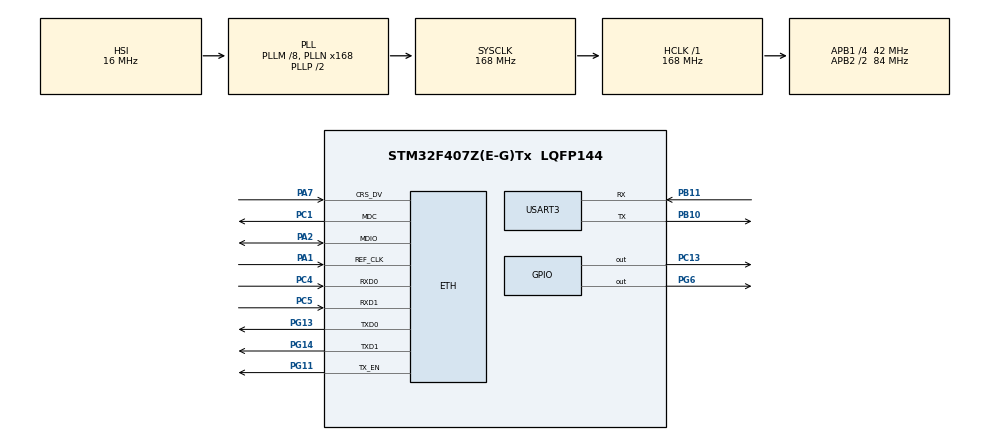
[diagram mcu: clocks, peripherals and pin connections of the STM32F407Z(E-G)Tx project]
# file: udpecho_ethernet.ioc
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ETH.MACAddr=44\:84\:23\:84\:44\:77
ETH.MediaInterface=ETH_MEDIA_INTERFACE_RMII
ETH.PhyAddress=0
FREERTOS.Tasks01=defaultTask,0,128,StartDefaultTask,Default,NULL,Dynamic,NULL,NULL;netTask,-3,128,StartnetTask,Default,NULL,Dynamic,NULL,NULL
FREERTOS.configTOTAL_HEAP_SIZE=15360
LWIP.LWIP_DNS=1
LWIP.Version=v2.0.3_Cube
Mcu.Family=STM32F4
Mcu.Name=STM32F407Z(E-G)Tx
Mcu.Package=LQFP144
NVIC.ETH_IRQn=true\:5\:0\:false\:false\:true\:true\:false
NVIC.PriorityGroup=NVIC_PRIORITYGROUP_4
PA1.GPIO_PuPd=GPIO_PULLUP
PA1.Mode=RMII
PA1.Signal=ETH_REF_CLK
PA13.Mode=Trace_Asynchronous_SW
PA13.Signal=SYS_JTMS-SWDIO
PA14.Mode=Trace_Asynchronous_SW
PA14.Signal=SYS_JTCK-SWCLK
PA2.GPIO_PuPd=GPIO_PULLUP
PA2.Mode=RMII
PA2.Signal=ETH_MDIO
PA7.GPIO_PuPd=GPIO_PULLUP
PA7.Mode=RMII
PA7.Signal=ETH_CRS_DV
PB10.Mode=Asynchronous
PB10.Signal=USART3_TX
PB11.Mode=Asynchronous
PB11.Signal=USART3_RX
PB3.Mode=Trace_Asynchronous_SW
PB3.Signal=SYS_JTDO-SWO
PC1.GPIO_PuPd=GPIO_PULLUP
PC1.Mode=RMII
PC1.Signal=ETH_MDC
PC13-ANTI_TAMP.Signal=GPIO_Output
PC4.GPIO_PuPd=GPIO_PULLUP
PC4.Mode=RMII
PC4.Signal=ETH_RXD0
PC5.GPIO_PuPd=GPIO_PULLUP
PC5.Mode=RMII
PC5.Signal=ETH_RXD1
PG11.GPIO_PuPd=GPIO_PULLUP
PG11.Mode=RMII
PG11.Signal=ETH_TX_EN
PG13.GPIO_PuPd=GPIO_PULLUP
PG13.Mode=RMII
PG13.Signal=ETH_TXD0
PG14.GPIO_PuPd=GPIO_PULLUP
PG14.Mode=RMII
PG14.Signal=ETH_TXD1
PG6.Signal=GPIO_Output
PH0-OSC_IN.Mode=HSE-External-Oscillator
PH0-OSC_IN.Signal=RCC_OSC_IN
PH1-OSC_OUT.Mode=HSE-External-Oscillator
PH1-OSC_OUT.Signal=RCC_OSC_OUT
ProjectManager.HeapSize=0x200
ProjectManager.StackSize=0x400
ProjectManager.TargetToolchain=TrueSTUDIO
RCC.48MHZClocksFreq_Value=84000000
RCC.AHBFreq_Value=168000000
RCC.APB1CLKDivider=RCC_HCLK_DIV4
RCC.APB1Freq_Value=42000000
RCC.APB1TimFreq_Value=84000000
RCC.APB2CLKDivider=RCC_HCLK_DIV2
RCC.APB2Freq_Value=84000000
RCC.APB2TimFreq_Value=168000000
RCC.CortexFreq_Value=168000000
RCC.HCLKFreq_Value=168000000
RCC.HSE_VALUE=25000000
RCC.HSI_VALUE=16000000
RCC.LSE_VALUE=32768
RCC.PLLM=8
RCC.PLLN=168
RCC.SYSCLKFreq_VALUE=168000000
RCC.SYSCLKSource=RCC_SYSCLKSOURCE_PLLCLK
RCC.VCOOutputFreq_Value=336000000
USART3.VirtualMode=VM_ASYNC
VP_FREERTOS_VS_ENABLE.Mode=Enabled
VP_LWIP_VS_Enabled.Mode=Enabled
board=custom

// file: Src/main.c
/******************************************************************************/
// FreeRTOS example developed by Erle Robotics(2018).
// This example use the cubeMX HAL and the LWIP library.
// This is an example of implementation of a TCP/IP echo server
//
/*****************************************************************************/

#include "main.h"
#include "stm32f4xx_hal.h"
#include "cmsis_os.h"
#include "lwip.h"
#include "api.h"

/* USER CODE BEGIN Includes */
char buffer[4096];//Buffer to return the data
/* USER CODE END Includes */

UART_HandleTypeDef huart3;

osThreadId defaultTaskHandle;
osThreadId netTaskHandle;

/* USER CODE BEGIN PV */
/* Private variables ---------------------------------------------------------*/

/* USER CODE END PV */

void SystemClock_Config(void);
static void MX_GPIO_Init(void);
static void MX_USART3_UART_Init(void);
void StartDefaultTask(void const * argument);
void StartnetTask(void const * argument);

/* USER CODE BEGIN PFP */
/* Private function prototypes -----------------------------------------------*/

/* USER CODE END PFP */

int main(void)
{

  /* MCU Configuration----------------------------------------------------------*/

  /* Reset of all peripherals, Initializes the Flash interface and the Systick. */
  HAL_Init();

  /* Configure the system clock */
  SystemClock_Config();

  /* Initialize all configured peripherals */
  MX_GPIO_Init();
  MX_USART3_UART_Init();

  /* Create the thread(s) */
  /* definition and creation of defaultTask */
  osThreadDef(defaultTask, StartDefaultTask, osPriorityNormal, 0, 1024);
  defaultTaskHandle = osThreadCreate(osThread(defaultTask), NULL);

  /* definition and creation of netTask */
  osThreadDef(netTask, StartnetTask, osPriorityIdle, 0, 128);
  netTaskHandle = osThreadCreate(osThread(netTask), NULL);

  /* Start scheduler */
  osKernelStart();

  /* We should never get here as control is now taken by the scheduler */

  /* Infinite loop */
  while (1)
  {

  }

}

void SystemClock_Config(void)
{

  RCC_OscInitTypeDef RCC_OscInitStruct;
  RCC_ClkInitTypeDef RCC_ClkInitStruct;

    /**Configure the main internal regulator output voltage
    */
  __HAL_RCC_PWR_CLK_ENABLE();

  __HAL_PWR_VOLTAGESCALING_CONFIG(PWR_REGULATOR_VOLTAGE_SCALE1);

    /**Initializes the CPU, AHB and APB busses clocks
    */
  RCC_OscInitStruct.OscillatorType = RCC_OSCILLATORTYPE_HSI;
  RCC_OscInitStruct.HSIState = RCC_HSI_ON;
  RCC_OscInitStruct.HSICalibrationValue = 16;
  RCC_OscInitStruct.PLL.PLLState = RCC_PLL_ON;
  RCC_OscInitStruct.PLL.PLLSource = RCC_PLLSOURCE_HSI;
  RCC_OscInitStruct.PLL.PLLM = 8;
  RCC_OscInitStruct.PLL.PLLN = 168;
  RCC_OscInitStruct.PLL.PLLP = RCC_PLLP_DIV2;
  RCC_OscInitStruct.PLL.PLLQ = 4;
  if (HAL_RCC_OscConfig(&RCC_OscInitStruct) != HAL_OK)
  {
    _Error_Handler(__FILE__, __LINE__);
  }

    /**Initializes the CPU, AHB and APB busses clocks
    */
  RCC_ClkInitStruct.ClockType = RCC_CLOCKTYPE_HCLK|RCC_CLOCKTYPE_SYSCLK
                              |RCC_CLOCKTYPE_PCLK1|RCC_CLOCKTYPE_PCLK2;
  RCC_ClkInitStruct.SYSCLKSource = RCC_SYSCLKSOURCE_PLLCLK;
  RCC_ClkInitStruct.AHBCLKDivider = RCC_SYSCLK_DIV1;
  RCC_ClkInitStruct.APB1CLKDivider = RCC_HCLK_DIV4;
  RCC_ClkInitStruct.APB2CLKDivider = RCC_HCLK_DIV2;

  if (HAL_RCC_ClockConfig(&RCC_ClkInitStruct, FLASH_LATENCY_5) != HAL_OK)
  {
    _Error_Handler(__FILE__, __LINE__);
  }

    /**Configure the Systick interrupt time
    */
  HAL_SYSTICK_Config(HAL_RCC_GetHCLKFreq()/1000);

    /**Configure the Systick
    */
  HAL_SYSTICK_CLKSourceConfig(SYSTICK_CLKSOURCE_HCLK);

  /* SysTick_IRQn interrupt configuration */
  HAL_NVIC_SetPriority(SysTick_IRQn, 15, 0);
}

/* USART3 init function */
static void MX_USART3_UART_Init(void)
{

  huart3.Instance = USART3;
  huart3.Init.BaudRate = 115200;
  huart3.Init.WordLength = UART_WORDLENGTH_8B;
  huart3.Init.StopBits = UART_STOPBITS_1;
  huart3.Init.Parity = UART_PARITY_NONE;
  huart3.Init.Mode = UART_MODE_TX_RX;
  huart3.Init.HwFlowCtl = UART_HWCONTROL_NONE;
  huart3.Init.OverSampling = UART_OVERSAMPLING_16;
  if (HAL_UART_Init(&huart3) != HAL_OK)
  {
    _Error_Handler(__FILE__, __LINE__);
  }

}

/** Configure pins as
        * Analog
        * Input
        * Output
        * EVENT_OUT
        * EXTI
*/
static void MX_GPIO_Init(void)
{

  GPIO_InitTypeDef GPIO_InitStruct;

  /* GPIO Ports Clock Enable */
  __HAL_RCC_GPIOC_CLK_ENABLE();
  __HAL_RCC_GPIOH_CLK_ENABLE();
  __HAL_RCC_GPIOA_CLK_ENABLE();
  __HAL_RCC_GPIOB_CLK_ENABLE();
  __HAL_RCC_GPIOG_CLK_ENABLE();

  /*Configure GPIO pin Output Level */
  HAL_GPIO_WritePin(GPIOC, GPIO_PIN_13, GPIO_PIN_RESET);

  /*Configure GPIO pin Output Level */
  HAL_GPIO_WritePin(GPIOG, GPIO_PIN_6, GPIO_PIN_RESET);

  /*Configure GPIO pin : PC13 */
  GPIO_InitStruct.Pin = GPIO_PIN_13;
  GPIO_InitStruct.Mode = GPIO_MODE_OUTPUT_PP;
  GPIO_InitStruct.Pull = GPIO_NOPULL;
  GPIO_InitStruct.Speed = GPIO_SPEED_FREQ_LOW;
  HAL_GPIO_Init(GPIOC, &GPIO_InitStruct);

  /*Configure GPIO pin : PG6 */
  GPIO_InitStruct.Pin = GPIO_PIN_6;
  GPIO_InitStruct.Mode = GPIO_MODE_OUTPUT_PP;
  GPIO_InitStruct.Pull = GPIO_NOPULL;
  GPIO_InitStruct.Speed = GPIO_SPEED_FREQ_LOW;
  HAL_GPIO_Init(GPIOG, &GPIO_InitStruct);

}

/* StartDefaultTask function */
extern struct netif gnetif;
void StartDefaultTask(void const * argument)
{
	static struct netconn *conn;
	static struct netbuf *buf;
	static ip_addr_t *addr;
	static unsigned short port;
	void *data;
	err_t err;
  /* init code for LWIP */
	printf("Ethernet Initialization \r\n");
	HAL_GPIO_WritePin(GPIOG, GPIO_PIN_6, GPIO_PIN_SET);
	MX_LWIP_Init();
	//Waiting for an IP
	while(gnetif.ip_addr.addr==0)osDelay(100);
	printf("\r\n");
	//Showing which IP was assigned
	printf("IP: %s\r\n",ip4addr_ntoa(&gnetif.ip_addr));

	//Creating a new UDP connection on the port 7
	conn = netconn_new(NETCONN_UDP);
	netconn_bind(conn, NULL, 7);

  /* USER CODE BEGIN 5 */
  /* Infinite loop */
	for(;;)
	{
		//Waiting for a new message
	   ;
	    //If no error, we return the same message
	    while (( err = netconn_recv(conn, &buf)) == ERR_OK) {
	    	memset(buffer,'0',4096); //Cleaning the buffer variable
	    	addr = netbuf_fromaddr(buf);// Saving the source address
	    	port = netbuf_fromport(buf);//Saving the port number
	    	netconn_connect(conn, ip4addr_ntoa(&buf->addr), port);//Connecting to the client
	    	netbuf_copy(buf, buffer, buf->p->tot_len);
	    	buffer[buf->p->tot_len] = '\0';
	    	printf("data: %s\r\n",buffer); //Received data
	    	netconn_sendto(conn, buf,addr,port); //Sending back to the source

	    	netbuf_delete(buf);
	    }
		osDelay(100);
		printf(".\r\n");
	}
	printf("-\r\n");
  /* USER CODE END 5 */
}

/* StartnetTask function */
void StartnetTask(void const * argument)
{
  for(;;)
  {
    osDelay(1);
  }
}

void _Error_Handler(char *file, int line)
{
  while(1)
  {
  }
}

/************************ (C) COPYRIGHT STMicroelectronics *****END OF FILE****/
